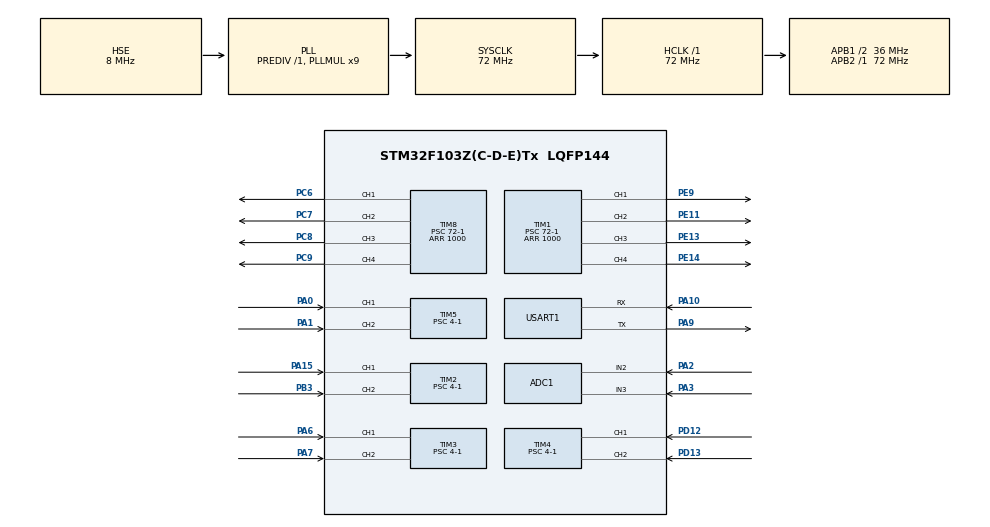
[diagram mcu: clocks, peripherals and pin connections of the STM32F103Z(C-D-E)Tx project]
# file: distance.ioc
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ADC1.Channel-0\#ChannelRegularConversion=ADC_CHANNEL_2
ADC1.ContinuousConvMode=ENABLE
ADC1.NbrOfConversionFlag=1
ADC1.Rank-0\#ChannelRegularConversion=1
ADC1.SamplingTime-0\#ChannelRegularConversion=ADC_SAMPLETIME_1CYCLE_5
ADC1.master=1
Mcu.Family=STM32F1
Mcu.Name=STM32F103Z(C-D-E)Tx
Mcu.Package=LQFP144
NVIC.PriorityGroup=NVIC_PRIORITYGROUP_4
NVIC.TIM2_IRQn=true\:0\:0\:false\:false\:true\:true\:true\:true
NVIC.TIM3_IRQn=true\:0\:0\:false\:false\:true\:true\:true\:true
NVIC.TIM4_IRQn=true\:0\:0\:false\:false\:true\:true\:true\:true
NVIC.TIM5_IRQn=true\:0\:0\:false\:false\:true\:true\:true\:true
NVIC.TIM6_IRQn=true\:1\:0\:true\:false\:true\:true\:true\:true
NVIC.USART1_IRQn=true\:0\:0\:false\:false\:true\:true\:true\:true
OSC_IN.Mode=HSE-External-Oscillator
OSC_IN.Signal=RCC_OSC_IN
OSC_OUT.Mode=HSE-External-Oscillator
OSC_OUT.Signal=RCC_OSC_OUT
PA0-WKUP.Signal=S_TIM5_CH1
PA1.Signal=S_TIM5_CH2
PA10.Mode=Asynchronous
PA10.Signal=USART1_RX
PA13.Mode=Serial_Wire
PA13.Signal=SYS_JTMS-SWDIO
PA14.Mode=Serial_Wire
PA14.Signal=SYS_JTCK-SWCLK
PA15.Signal=S_TIM2_CH1_ETR
PA2.Signal=ADCx_IN2
PA3.Signal=ADCx_IN3
PA6.Signal=S_TIM3_CH1
PA7.Signal=S_TIM3_CH2
PA9.Mode=Asynchronous
PA9.Signal=USART1_TX
PB3.Signal=S_TIM2_CH2
PC6.Signal=S_TIM8_CH1
PC7.Signal=S_TIM8_CH2
PC8.Signal=S_TIM8_CH3
PC9.Signal=S_TIM8_CH4
PD12.Signal=S_TIM4_CH1
PD13.Signal=S_TIM4_CH2
PE11.Signal=S_TIM1_CH2
PE13.Signal=S_TIM1_CH3
PE14.Signal=S_TIM1_CH4
PE9.Signal=S_TIM1_CH1
ProjectManager.HeapSize=0x200
ProjectManager.StackSize=0x400
ProjectManager.TargetToolchain=STM32CubeIDE
RCC.ADCPresc=RCC_ADCPCLK2_DIV6
RCC.AHBFreq_Value=72000000
RCC.APB1CLKDivider=RCC_HCLK_DIV2
RCC.APB1Freq_Value=36000000
RCC.APB1TimFreq_Value=72000000
RCC.APB2Freq_Value=72000000
RCC.APB2TimFreq_Value=72000000
RCC.HCLKFreq_Value=72000000
RCC.PLLMUL=RCC_PLL_MUL9
RCC.PLLSourceVirtual=RCC_PLLSOURCE_HSE
RCC.SYSCLKFreq_VALUE=72000000
RCC.SYSCLKSource=RCC_SYSCLKSOURCE_PLLCLK
RCC.USBFreq_Value=72000000
SH.ADCx_IN2.0=ADC1_IN2,IN2
SH.ADCx_IN3.0=ADC1_IN3,IN3
SH.S_TIM1_CH1.0=TIM1_CH1,PWM Generation1 CH1
SH.S_TIM1_CH2.0=TIM1_CH2,PWM Generation2 CH2
SH.S_TIM1_CH3.0=TIM1_CH3,PWM Generation3 CH3
SH.S_TIM1_CH4.0=TIM1_CH4,PWM Generation4 CH4
SH.S_TIM2_CH1_ETR.0=TIM2_CH1,Encoder_Interface
SH.S_TIM2_CH2.0=TIM2_CH2,Encoder_Interface
SH.S_TIM3_CH1.0=TIM3_CH1,Encoder_Interface
SH.S_TIM3_CH2.0=TIM3_CH2,Encoder_Interface
SH.S_TIM4_CH1.0=TIM4_CH1,Encoder_Interface
SH.S_TIM4_CH2.0=TIM4_CH2,Encoder_Interface
SH.S_TIM5_CH1.0=TIM5_CH1,Encoder_Interface
SH.S_TIM5_CH2.0=TIM5_CH2,Encoder_Interface
SH.S_TIM8_CH1.0=TIM8_CH1,PWM Generation1 CH1
SH.S_TIM8_CH2.0=TIM8_CH2,PWM Generation2 CH2
SH.S_TIM8_CH3.0=TIM8_CH3,PWM Generation3 CH3
SH.S_TIM8_CH4.0=TIM8_CH4,PWM Generation4 CH4
TIM1.AutoReloadPreload=TIM_AUTORELOAD_PRELOAD_ENABLE
TIM1.Channel-PWM\ Generation1\ CH1=TIM_CHANNEL_1
TIM1.Channel-PWM\ Generation2\ CH2=TIM_CHANNEL_2
TIM1.Channel-PWM\ Generation3\ CH3=TIM_CHANNEL_3
TIM1.Channel-PWM\ Generation4\ CH4=TIM_CHANNEL_4
TIM1.Period=1000
TIM1.Prescaler=72-1
TIM2.AutoReloadPreload=TIM_AUTORELOAD_PRELOAD_ENABLE
TIM2.EncoderMode=TIM_ENCODERMODE_TI12
TIM2.Prescaler=4-1
TIM3.AutoReloadPreload=TIM_AUTORELOAD_PRELOAD_ENABLE
TIM3.EncoderMode=TIM_ENCODERMODE_TI12
TIM3.Prescaler=4-1
TIM4.AutoReloadPreload=TIM_AUTORELOAD_PRELOAD_ENABLE
TIM4.EncoderMode=TIM_ENCODERMODE_TI12
TIM4.Prescaler=4-1
TIM5.AutoReloadPreload=TIM_AUTORELOAD_PRELOAD_ENABLE
TIM5.EncoderMode=TIM_ENCODERMODE_TI12
TIM5.Prescaler=4-1
TIM6.AutoReloadPreload=TIM_AUTORELOAD_PRELOAD_ENABLE
TIM6.Period=1000
TIM6.Prescaler=72-1
TIM8.AutoReloadPreload=TIM_AUTORELOAD_PRELOAD_ENABLE
TIM8.Channel-PWM\ Generation1\ CH1=TIM_CHANNEL_1
TIM8.Channel-PWM\ Generation2\ CH2=TIM_CHANNEL_2
TIM8.Channel-PWM\ Generation3\ CH3=TIM_CHANNEL_3
TIM8.Channel-PWM\ Generation4\ CH4=TIM_CHANNEL_4
TIM8.OC2Preload_PWM=DISABLE
TIM8.OCFastMode_PWM-PWM\ Generation1\ CH1=TIM_OCFAST_ENABLE
TIM8.OCFastMode_PWM-PWM\ Generation2\ CH2=TIM_OCFAST_ENABLE
TIM8.OCFastMode_PWM-PWM\ Generation3\ CH3=TIM_OCFAST_ENABLE
TIM8.OCFastMode_PWM-PWM\ Generation4\ CH4=TIM_OCFAST_ENABLE
TIM8.Period=1000
TIM8.Prescaler=72-1
USART1.VirtualMode=VM_ASYNC
VP_TIM1_VS_ClockSourceINT.Mode=Internal
VP_TIM6_VS_ClockSourceINT.Mode=Enable_Timer
VP_TIM8_VS_ClockSourceINT.Mode=Internal
board=custom

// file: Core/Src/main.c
/* USER CODE BEGIN Header */
/**
  ******************************************************************************
  * @file           : main.c
  * @brief          : Main program body
  ******************************************************************************
  * @attention
  *
  * Copyright (c) 2023 STMicroelectronics.
  * All rights reserved.
  *
  * This software is licensed under terms that can be found in the LICENSE file
  * in the root directory of this software component.
  * If no LICENSE file comes with this software, it is provided AS-IS.
  *
  ******************************************************************************
  */
/* USER CODE END Header */
#include "main.h"
#include "adc.h"
#include "tim.h"
#include "usart.h"
#include "gpio.h"

/* USER CODE BEGIN Includes */
#include "pid.h"
#include "encoder.h"
#include "motor.h"
#include "RobotMain.h"

/* USER CODE END Includes */

void SystemClock_Config(void);

/* USER CODE BEGIN 0 */
extern __IO int16_t EncoderOverflowCnt;
/* USER CODE END 0 */

int main(void)
{

  /* MCU Configuration--------------------------------------------------------*/

  /* Reset of all peripherals, Initializes the Flash interface and the Systick. */
  HAL_Init();

  /* Configure the system clock */
  SystemClock_Config();

  /* Initialize all configured peripherals */
  MX_GPIO_Init();
  MX_ADC1_Init();
  MX_TIM1_Init();
  MX_TIM2_Init();
  MX_TIM3_Init();
  MX_TIM4_Init();
  MX_TIM5_Init();
  MX_TIM6_Init();
  MX_TIM8_Init();
  MX_USART1_UART_Init();
  /* USER CODE BEGIN 2 */
  RobotInit();
HAL_TIM_Encoder_Start(&htim2, TIM_CHANNEL_1|TIM_CHANNEL_2);
HAL_TIM_Encoder_Start(&htim3, TIM_CHANNEL_1|TIM_CHANNEL_2);
HAL_TIM_Encoder_Start(&htim4, TIM_CHANNEL_1|TIM_CHANNEL_2);
HAL_TIM_Encoder_Start(&htim5, TIM_CHANNEL_1|TIM_CHANNEL_2);

HAL_TIM_PWM_Start(&htim1,TIM_CHANNEL_1);
HAL_TIM_PWM_Start(&htim1,TIM_CHANNEL_2);
HAL_TIM_PWM_Start(&htim1,TIM_CHANNEL_3);
HAL_TIM_PWM_Start(&htim1,TIM_CHANNEL_4);

HAL_TIM_PWM_Start(&htim8,TIM_CHANNEL_1);
HAL_TIM_PWM_Start(&htim8,TIM_CHANNEL_2);
HAL_TIM_PWM_Start(&htim8,TIM_CHANNEL_3);
HAL_TIM_PWM_Start(&htim8,TIM_CHANNEL_4);

HAL_TIM_Base_Start_IT(&htim6);
RobotTest();

  /* USER CODE END 2 */

  /* Infinite loop */
  while (1)
  {

  }
}

void SystemClock_Config(void)
{
  RCC_OscInitTypeDef RCC_OscInitStruct = {0};
  RCC_ClkInitTypeDef RCC_ClkInitStruct = {0};
  RCC_PeriphCLKInitTypeDef PeriphClkInit = {0};

  /** Initializes the RCC Oscillators according to the specified parameters
  * in the RCC_OscInitTypeDef structure.
  */
  RCC_OscInitStruct.OscillatorType = RCC_OSCILLATORTYPE_HSE;
  RCC_OscInitStruct.HSEState = RCC_HSE_ON;
  RCC_OscInitStruct.HSEPredivValue = RCC_HSE_PREDIV_DIV1;
  RCC_OscInitStruct.HSIState = RCC_HSI_ON;
  RCC_OscInitStruct.PLL.PLLState = RCC_PLL_ON;
  RCC_OscInitStruct.PLL.PLLSource = RCC_PLLSOURCE_HSE;
  RCC_OscInitStruct.PLL.PLLMUL = RCC_PLL_MUL9;
  if (HAL_RCC_OscConfig(&RCC_OscInitStruct) != HAL_OK)
  {
    Error_Handler();
  }

  /** Initializes the CPU, AHB and APB buses clocks
  */
  RCC_ClkInitStruct.ClockType = RCC_CLOCKTYPE_HCLK|RCC_CLOCKTYPE_SYSCLK
                              |RCC_CLOCKTYPE_PCLK1|RCC_CLOCKTYPE_PCLK2;
  RCC_ClkInitStruct.SYSCLKSource = RCC_SYSCLKSOURCE_PLLCLK;
  RCC_ClkInitStruct.AHBCLKDivider = RCC_SYSCLK_DIV1;
  RCC_ClkInitStruct.APB1CLKDivider = RCC_HCLK_DIV2;
  RCC_ClkInitStruct.APB2CLKDivider = RCC_HCLK_DIV1;

  if (HAL_RCC_ClockConfig(&RCC_ClkInitStruct, FLASH_LATENCY_2) != HAL_OK)
  {
    Error_Handler();
  }
  PeriphClkInit.PeriphClockSelection = RCC_PERIPHCLK_ADC;
  PeriphClkInit.AdcClockSelection = RCC_ADCPCLK2_DIV6;
  if (HAL_RCCEx_PeriphCLKConfig(&PeriphClkInit) != HAL_OK)
  {
    Error_Handler();
  }
}

/* USER CODE BEGIN 4 */
void HAL_TIM_PeriodElapsedCallback(TIM_HandleTypeDef *htim)
{
 	/* ?????????,????????? */
	/*??TIM4???????,?????????,????????*/
	if (htim->Instance == TIM6) {
        RobotTick();

  }

}
/* USER CODE END 4 */

void Error_Handler(void)
{
  __disable_irq();
  while (1)
  {
  }
}
